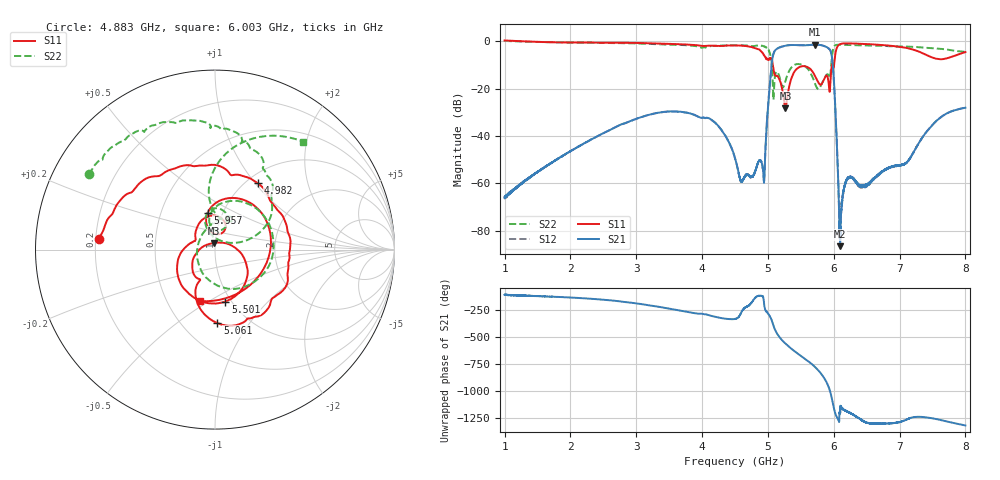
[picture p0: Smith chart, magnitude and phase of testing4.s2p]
# Hz S MA R 50
! CMT, S5180, 20087786, 22.2.1/1
! Date: 10/31/2022 3:13:40 PM
! Data: Format (Calibration Info)
! Freq	S11:Mag/Ang(F2 Dmb)	S21:Mag/Ang(F2 Dmb)	S12:Mag/Ang(F2 Dmb)	S22:Mag/Ang(F2 Dmb)
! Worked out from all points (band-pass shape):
!   7001 points, 1 GHz to 8 GHz, reference 50 ohm
!   highest |S21| = -1.35 dB at 5.717 GHz (marker M1); lowest = -86.6 dB at 6.097 GHz (marker M2)
!   |S21| within 3 dB of the highest: 5.097 GHz to 5.956 GHz (858.7 MHz wide, 15.5 % of centre)
!   lowest |S11| = -28.3 dB at 5.266 GHz (marker M3), VSWR 1.08, Z = 49.1 + j3.7 ohm
!   |S11| at or under -10 dB: 5.075 GHz to 5.972 GHz (897.1 MHz wide, 16.2 % of centre); 5.984482 GHz to 6.005176 GHz (20.69 MHz wide, 0.345 % of centre)
!   |S22| runs from -24.7 to 0.2 dB; largest |S21 - S12| = 0.0011
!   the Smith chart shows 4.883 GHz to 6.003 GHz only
!   S11 on the Smith chart (normalised r, x): 4.883 GHz: 0.21, +0.04; 4.982 GHz: 1.13, +1.03; 5.061 GHz: 0.73, -0.72; 5.501 GHz: 0.94, -0.60; 5.957 GHz: 0.85, +0.36; 6.003 GHz: 0.73, -0.46
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1e9  1.049 170.2  0.0004888 -107.8  0.0004863 -108.3  1.024 164.9
2.167e9  0.9469 144.0  0.006488 -138.0  0.006463 -138.1  0.9469 127.9
3.334e9  0.9045 74.9  0.03094 142.1  0.03092 142.0  0.87 33.4
3.897e9  0.8426 10.8  0.02736 81.0  0.0273 81.0  0.8021 -39.0
4.5e9  0.8239 -69.3  0.003386 28.1  0.003426 28.7  0.8256 -120.0
4.883e9  0.6473 174.7  0.003081 -116.0  0.003083 -116.1  0.8166 149.1
4.982e9  0.4399 57.1  0.01703 97.7  0.01702 97.7  0.7351 101.9
5.061e9  0.4092 -88.2  0.3637 9.6  0.3633 9.6  0.3044 24.3
5.141e9  0.1874 -123.5  0.7046 -109.5  0.7044 -109.5  0.2285 82.7
5.266e9  0.03829 100.8  0.8118 159.8  0.8117 159.8  0.1442 101.2
5.501e9  0.2952 -78.7  0.8315 45.8  0.8324 45.8  0.3271 2.8
5.667e9  0.2409 -151.3  0.8467 -30.8  0.8473 -30.8  0.1901 -91.3
5.717e9  0.1833 -177.5  0.8561 -58.7  0.8562 -58.7  0.1265 -133.9
5.862e9  0.1678 123.1  0.7928 -168.5  0.7933 -168.5  0.1691 82.2
5.957e9  0.2081 101.5  0.5978 47.6  0.5974 47.6  0.2702 96.0
6.003e9  0.2983 -105.7  0.1443 -82.8  0.1441 -82.7  0.7758 50.8
6.097e9  0.8759 59.5  4.661e-05 -89.2  0.000116 -120.2  0.8522 -11.8
6.392e9  0.8921 -41.7  0.0008756 -178.7  0.0008877 179.5  0.829 -88.4
6.834e9  0.8185 -105.4  0.002126 138.6  0.002091 137.8  0.7928 -152.8
7.23e9  0.656 -165.4  0.005006 -163.1  0.005026 -163.4  0.765 163.2
7.553e9  0.4321 108.7  0.02042 178.1  0.0204 178.1  0.7098 127.4
8e9  0.5957 -16.9  0.03964 118.3  0.03961 118.3  0.6051 70.5
